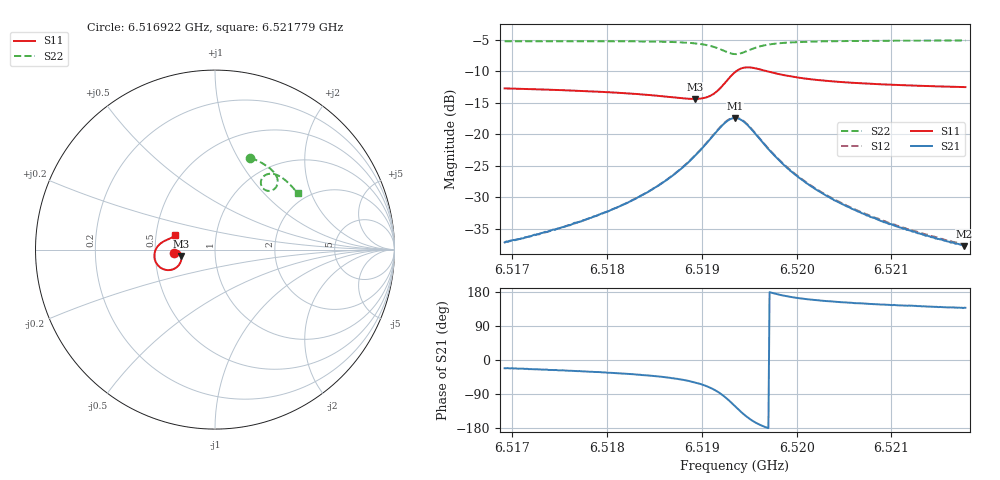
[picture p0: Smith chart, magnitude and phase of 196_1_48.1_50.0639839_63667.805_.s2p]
#  HZ  S  RI  R  50.00
! Rohde & Schwarz Vector Network Analyzer
! Rohde-Schwarz,ZNB20-2Port,1311601062101988,3.16
! Created: UTC 12/23/2023, 3:54:16 AM
! freq[Hz]  re:S11  im:S11  re:S21  im:S21  re:S12  im:S12  re:S22  im:S22
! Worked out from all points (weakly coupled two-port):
!   401 points, 6.516922 GHz to 6.521779 GHz, reference 50 ohm
!   highest |S21| = -17.41 dB at 6.519351 GHz (marker M1); lowest = -37.8 dB at 6.521767 GHz (marker M2)
!   lowest |S11| = -14.4 dB at 6.518926 GHz (marker M3), VSWR 1.47, Z = 34.1 - j2.48 ohm
!   |S11| at or under -10 dB: start of sweep to 6.519362 GHz; 6.519693 GHz to end of sweep
!   |S22| runs from -7.3 to -5.1 dB; largest |S21 - S12| = 0.0042
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6.516922e9  -0.2309 -0.0186  0.0129 -0.00515  0.013 -0.00462  0.1976 0.5112
6.5173834e9  -0.2258 -0.0117  0.0152 -0.0075  0.0155 -0.007  0.2318 0.4972
6.5177356e9  -0.2209 -0.0074  0.0177 -0.0102  0.018 -0.00959  0.2579 0.4841
6.518197e9  -0.2119 -0.00516  0.0227 -0.0168  0.0233 -0.016  0.2924 0.4629
6.5185491e9  -0.2017 -0.0094  0.0285 -0.0272  0.0295 -0.0263  0.3196 0.4402
6.5187434e9  -0.1943 -0.0176  0.0326 -0.0385  0.0338 -0.0377  0.3347 0.4222
6.5189255e9  -0.1878 -0.035  0.0345 -0.0575  0.0367 -0.0567  0.3465 0.3979
6.5190348e9  -0.1876 -0.0539  0.0314 -0.076  0.034 -0.0754  0.3494 0.377
6.5191198e9  -0.1943 -0.0751  0.0221 -0.0953  0.0253 -0.0953  0.3448 0.3567
6.5192534e9  -0.2359 -0.1106  -0.0206 -0.1233  -0.0169 -0.1249  0.3132 0.3286
6.5193505e9  -0.2924 -0.107  -0.071 -0.1146  -0.0681 -0.1176  0.2743 0.3355
6.5194112e9  -0.3219 -0.0831  -0.0945 -0.0904  -0.0926 -0.0939  0.2586 0.3556
6.5194719e9  -0.3362 -0.0517  -0.1036 -0.0618  -0.1027 -0.0653  0.2558 0.3793
6.5195691e9  -0.3337 -0.00865  -0.0971 -0.0252  -0.097 -0.0284  0.2697 0.4069
6.5196784e9  -0.3177 0.0203  -0.0802 -0.00325  -0.0806 -0.00552  0.2924 0.4203
6.5199091e9  -0.2876 0.0448  -0.0522 0.0113  -0.0531 0.00995  0.331 0.4207
6.5201641e9  -0.2676 0.0541  -0.0356 0.0136  -0.0366 0.0128  0.3599 0.4088
6.5205162e9  -0.2514 0.061  -0.0239 0.0127  -0.0247 0.0123  0.3887 0.3891
6.5209776e9  -0.2385 0.0679  -0.016 0.011  -0.0167 0.0107  0.4185 0.362
6.5213176e9  -0.2315 0.0725  -0.0127 0.0101  -0.013 0.0098  0.4372 0.3412
6.5217669e9  -0.2238 0.0788  -0.00963 0.00866  -0.01 0.0087  0.4593 0.3134
6.521779e9  -0.2236 0.0789  -0.0096 0.00872  -0.01 0.00873  0.4598 0.3128
